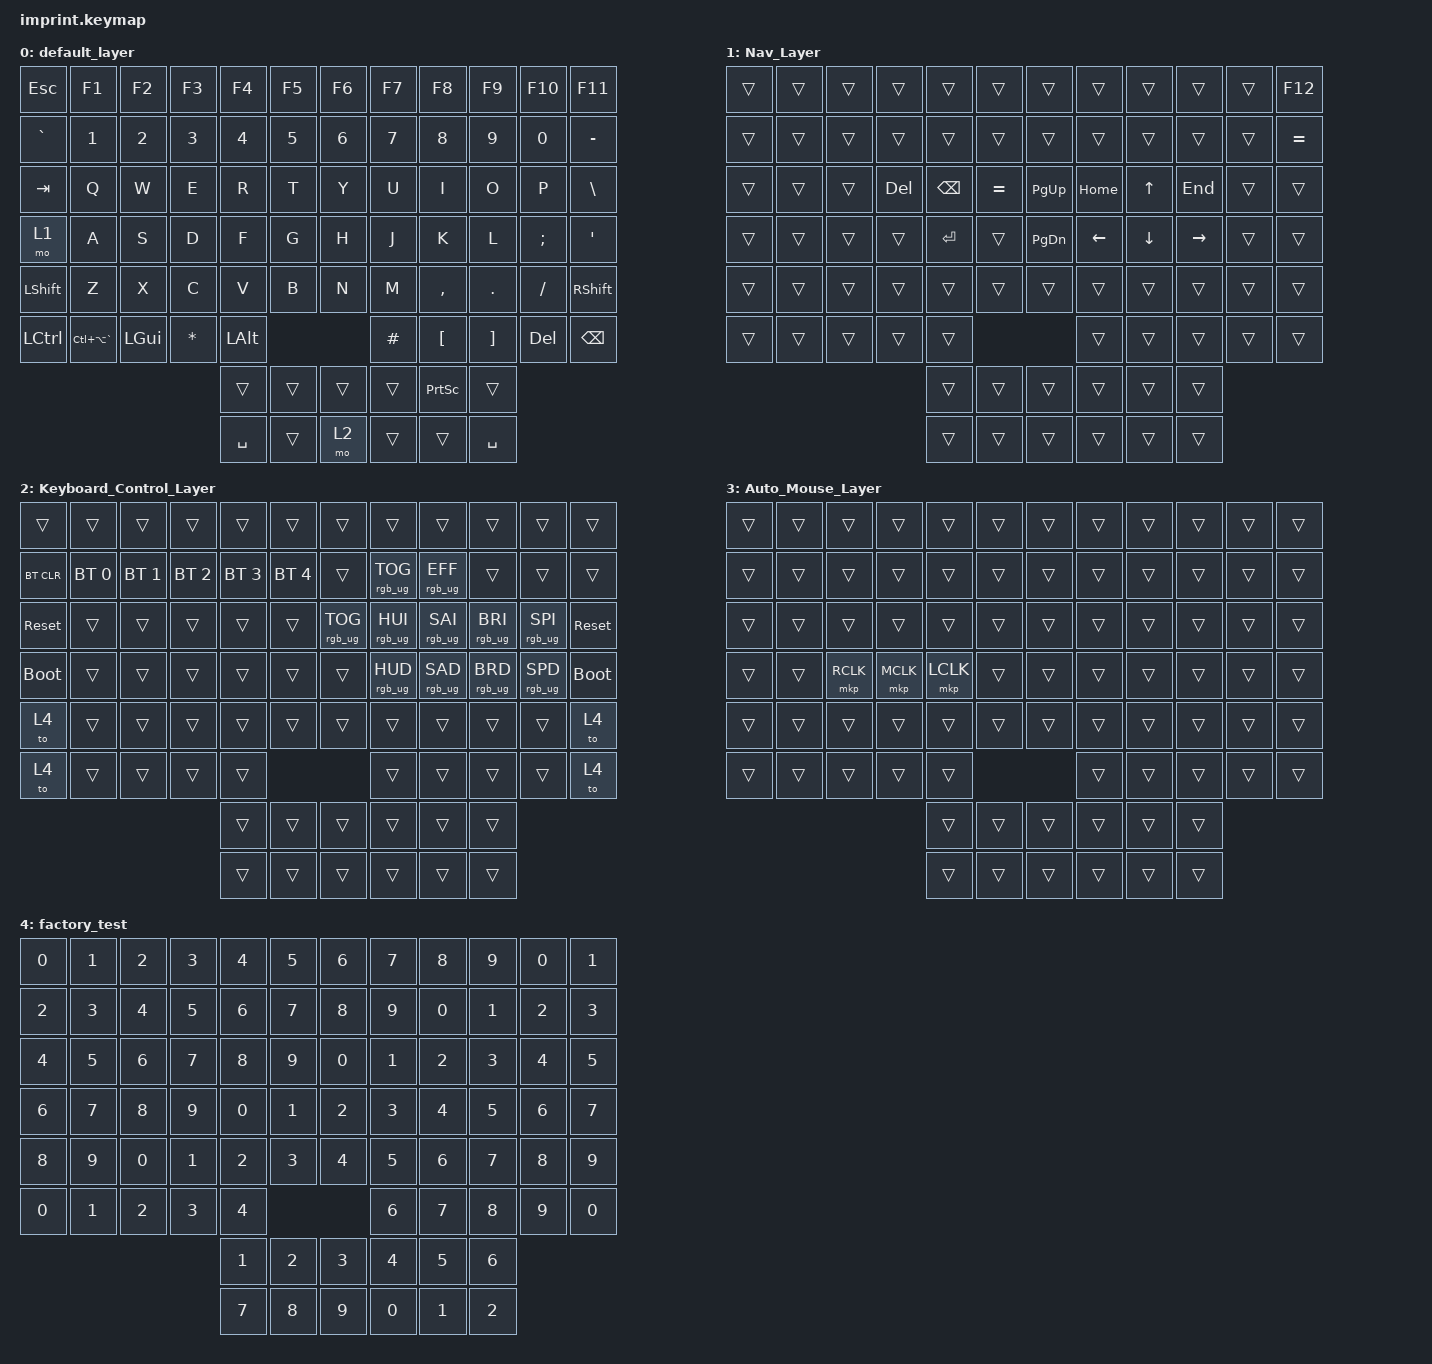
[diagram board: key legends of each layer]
#include <input/processors.dtsi>
#include <dt-bindings/zmk/input_transform.h>
#include <behaviors.dtsi>
#include <dt-bindings/zmk/bt.h>
#include <dt-bindings/zmk/keys.h>
#include <dt-bindings/zmk/pointing.h>
#include <dt-bindings/zmk/rgb.h>

/ {
    chosen { zmk,matrix-transform = &imprint_function_row_full_bottom_row; };

    keymap {
        compatible = "zmk,keymap";

        default_layer {
            bindings = <
&kp ESC    &kp F1             &kp F2    &kp F3    &kp F4        &kp F5            &kp F6  &kp F7           &kp F8     &kp F9    &kp F10     &kp F11
&kp GRAVE  &kp N1             &kp N2    &kp N3    &kp N4        &kp N5            &kp N6  &kp N7           &kp N8     &kp N9    &kp N0      &kp MINUS
&kp TAB    &kp Q              &kp W     &kp E     &kp R         &kp T             &kp Y   &kp U            &kp I      &kp O     &kp P       &kp BSLH
&mo 1      &kp A              &kp S     &kp D     &kp F         &kp G             &kp H   &kp J            &kp K      &kp L     &kp SEMI    &kp SQT
&kp LSHFT  &kp Z              &kp X     &kp C     &kp V         &kp B             &kp N   &kp M            &kp COMMA  &kp DOT   &kp FSLH    &kp RSHFT
&kp LCTRL  &kp LC(LA(GRAVE))  &kp LGUI  &kp STAR  &kp LEFT_ALT                            &kp HASH         &kp LBKT   &kp RBKT  &kp DELETE  &kp BACKSPACE
                                                  &trans        &trans  &trans    &trans  &kp PRINTSCREEN  &trans
                                                  &kp SPACE     &trans  &mo 2     &trans  &trans           &kp SPACE
            >;
        };

        Nav_Layer {
            bindings = <
&trans  &trans  &trans  &trans   &trans         &trans               &trans     &trans    &trans    &trans     &trans  &kp F12
&trans  &trans  &trans  &trans   &trans         &trans               &trans     &trans    &trans    &trans     &trans  &kp EQUAL
&trans  &trans  &trans  &kp DEL  &kp BACKSPACE  &kp EQUAL            &kp PG_UP  &kp HOME  &kp UP    &kp END    &trans  &trans
&trans  &trans  &trans  &trans   &kp ENTER      &trans               &kp PG_DN  &kp LEFT  &kp DOWN  &kp RIGHT  &trans  &trans
&trans  &trans  &trans  &trans   &trans         &trans               &trans     &trans    &trans    &trans     &trans  &trans
&trans  &trans  &trans  &trans   &trans                                         &trans    &trans    &trans     &trans  &trans
                                 &trans         &trans     &trans    &trans     &trans    &trans
                                 &trans         &trans     &trans    &trans     &trans    &trans
            >;
        };

        Keyboard_Control_Layer {
            bindings = <
&trans       &trans        &trans        &trans        &trans        &trans                  &trans           &trans           &trans           &trans           &trans           &trans
&bt BT_CLR   &bt BT_SEL 0  &bt BT_SEL 1  &bt BT_SEL 2  &bt BT_SEL 3  &bt BT_SEL 4            &trans           &rgb_ug RGB_TOG  &rgb_ug RGB_EFF  &trans           &trans           &trans
&sys_reset   &trans        &trans        &trans        &trans        &trans                  &rgb_ug RGB_TOG  &rgb_ug RGB_HUI  &rgb_ug RGB_SAI  &rgb_ug RGB_BRI  &rgb_ug RGB_SPI  &sys_reset
&bootloader  &trans        &trans        &trans        &trans        &trans                  &trans           &rgb_ug RGB_HUD  &rgb_ug RGB_SAD  &rgb_ug RGB_BRD  &rgb_ug RGB_SPD  &bootloader
&to 4        &trans        &trans        &trans        &trans        &trans                  &trans           &trans           &trans           &trans           &trans           &to 4
&to 4        &trans        &trans        &trans        &trans                                                 &trans           &trans           &trans           &trans           &to 4
                                                       &trans        &trans        &trans    &trans           &trans           &trans
                                                       &trans        &trans        &trans    &trans           &trans           &trans
            >;
        };

        Auto_Mouse_Layer {
            bindings = <
&trans  &trans  &trans     &trans     &trans     &trans            &trans  &trans  &trans  &trans  &trans  &trans
&trans  &trans  &trans     &trans     &trans     &trans            &trans  &trans  &trans  &trans  &trans  &trans
&trans  &trans  &trans     &trans     &trans     &trans            &trans  &trans  &trans  &trans  &trans  &trans
&trans  &trans  &mkp RCLK  &mkp MCLK  &mkp LCLK  &trans            &trans  &trans  &trans  &trans  &trans  &trans
&trans  &trans  &trans     &trans     &trans     &trans            &trans  &trans  &trans  &trans  &trans  &trans
&trans  &trans  &trans     &trans     &trans                               &trans  &trans  &trans  &trans  &trans
                                      &trans     &trans  &trans    &trans  &trans  &trans
                                      &trans     &trans  &trans    &trans  &trans  &trans
            >;
        };

        factory_test {
            bindings = <
&kp N0  &kp N1  &kp N2  &kp N3  &kp N4  &kp N5            &kp N6  &kp N7  &kp N8  &kp N9  &kp N0  &kp N1
&kp N2  &kp N3  &kp N4  &kp N5  &kp N6  &kp N7            &kp N8  &kp N9  &kp N0  &kp N1  &kp N2  &kp N3
&kp N4  &kp N5  &kp N6  &kp N7  &kp N8  &kp N9            &kp N0  &kp N1  &kp N2  &kp N3  &kp N4  &kp N5
&kp N6  &kp N7  &kp N8  &kp N9  &kp N0  &kp N1            &kp N2  &kp N3  &kp N4  &kp N5  &kp N6  &kp N7
&kp N8  &kp N9  &kp N0  &kp N1  &kp N2  &kp N3            &kp N4  &kp N5  &kp N6  &kp N7  &kp N8  &kp N9
&kp N0  &kp N1  &kp N2  &kp N3  &kp N4                            &kp N6  &kp N7  &kp N8  &kp N9  &kp N0
                                &kp N1  &kp N2  &kp N3    &kp N4  &kp N5  &kp N6
                                &kp N7  &kp N8  &kp N9    &kp N0  &kp N1  &kp N2
            >;
        };
    };
};

// right hand trackball configuration
// &trackball_peripheral_listener {
//    input-processors =
//     activate layer 3 within 500ms of the trackball moving
//     <&zip_temp_layer 3 500>;
// };
//left hand trackball configuration

&trackball_central_listener {
    input-processors =
        // multiply sensitivity by 1, divide by 3 (make it slower for scrolling),,,,,,,,,,
        <&zip_xy_scaler 1 3>,
        // make this trackball output scrolling events by default instead of cursor movement,,,,,,,,,,
        <&zip_xy_to_scroll_mapper>,
        // invert vertical scrolling so that the view moves in the same direction as the top of the trackball.,,,,,,,,,,
        <&zip_scroll_transform INPUT_TRANSFORM_Y_INVERT>;
};
